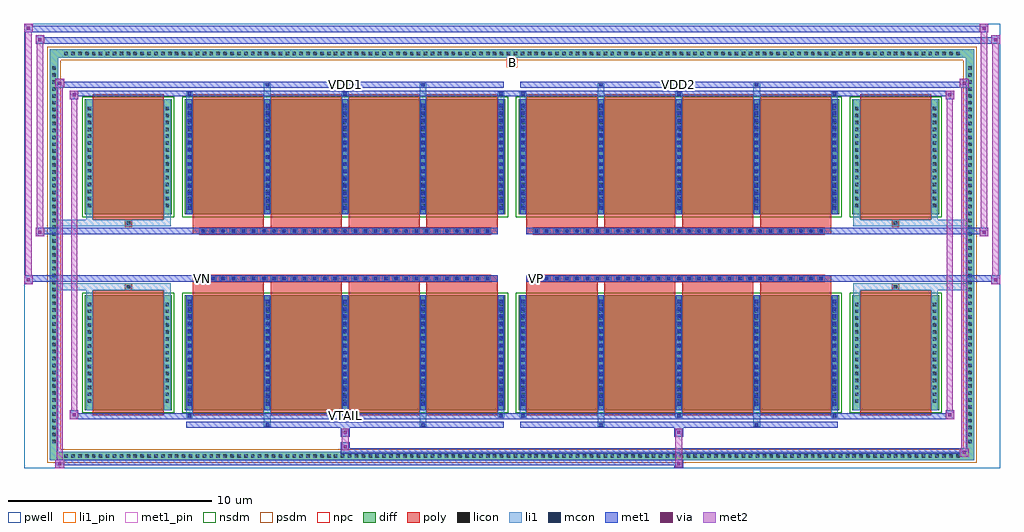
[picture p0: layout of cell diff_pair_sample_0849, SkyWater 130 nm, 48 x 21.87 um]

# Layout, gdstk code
import gdstk
lib = gdstk.Library(unit=1e-6, precision=5e-09)
def R(c, l, rs):  # rectangles x0, y0, x1, y1
    for r in rs: c.add(gdstk.rectangle(r[:2], r[2:], *l))
def A(c, l, x, y, w, h, nx, ny, dx, dy):  # array of equal rectangles
    R(c, l, [(x+i*dx, y+j*dy, x+i*dx+w, y+j*dy+h) for i in range(nx) for j in range(ny)])
def P(c, l, *ps):  # polygons
    for p in ps: c.add(gdstk.Polygon(p, *l))
pwell = (64, 44)
diff = (65, 20)
poly = (66, 20)
licon = (66, 44)
li1_pin = (67, 16)
li1 = (67, 20)
mcon = (67, 44)
met1_pin = (68, 16)
met1 = (68, 20)
via = (68, 44)
met2 = (69, 20)
nsdm = (93, 44)
psdm = (94, 20)
npc = (95, 20)

diff_pair_sample_0849 = lib.new_cell('diff_pair_sample_0849')
R(diff_pair_sample_0849, pwell, [(-24,-10.5,24,11.37), (-21.32,-8.69,-0.01,-0.805), (0.01,-8.69,21.32,-0.805), (-21.32,0.805,-0.01,8.69), (0.01,0.805,21.32,8.69)])
A(diff_pair_sample_0849, diff, -22.135, -10.1, 0.41, 0.41, 130, 2, 0.34, 19.79)
A(diff_pair_sample_0849, diff, -22.73, -9.385, 0.41, 0.41, 1, 55, 0, 0.34)
A(diff_pair_sample_0849, diff, 22.32, -9.385, 0.41, 0.41, 1, 55, 0, 0.34)
R(diff_pair_sample_0849, diff, [(-22.135,-10.1,22.135,-9.69), (-22.73,-9.385,-22.32,9.385), (22.32,-9.385,22.73,9.385), (-21.01,-7.645,-16.73,-1.985), (-16.09,-7.645,-0.32,-1.985), (0.32,-7.645,16.09,-1.985), (16.73,-7.645,21.01,-1.985), (-21.01,1.985,-16.73,7.645), (-16.09,1.985,-0.32,7.645), (0.32,1.985,16.09,7.645), (16.73,1.985,21.01,7.645), (-22.135,9.69,22.135,10.1)])
P(diff_pair_sample_0849, diff, [(22.73,10.1),(-22.73,10.1),(-22.73,-9.69),(-22.32,-9.69),(-22.32,9.69),(22.32,9.69),(22.32,-9.69),(-22.32,-9.69),(-22.73,-9.69),(-22.73,-10.1),(22.73,-10.1)])
A(diff_pair_sample_0849, poly, -15.7, -7.895, 3.5, 6.16, 4, 2, 3.83, 9.63)
A(diff_pair_sample_0849, poly, 0.71, -7.895, 3.5, 6.16, 4, 2, 3.83, 9.63)
A(diff_pair_sample_0849, poly, -15.7, -1.735, 3.5, 0.4, 4, 2, 3.83, 3.07)
A(diff_pair_sample_0849, poly, 0.71, -1.735, 3.5, 0.4, 4, 2, 3.83, 3.07)
A(diff_pair_sample_0849, poly, -15.37, -1.335, 0.33, 0.33, 29, 2, 0.5, 2.34)
A(diff_pair_sample_0849, poly, 1.04, -1.335, 0.33, 0.33, 29, 2, 0.5, 2.34)
R(diff_pair_sample_0849, poly, [(-20.62,-7.895,-17.12,-1.735), (17.12,-7.895,20.62,-1.735), (-19.035,-1.735,-18.705,-1.405), (-19.035,-1.735,-18.705,-1.405), (18.705,-1.735,19.035,-1.405), (18.705,-1.735,19.035,-1.405), (-15.7,-1.335,-0.71,-1.005), (0.71,-1.335,15.7,-1.005), (-15.7,1.005,-0.71,1.335), (0.71,1.005,15.7,1.335), (-19.035,1.405,-18.705,1.735), (-19.035,1.405,-18.705,1.735), (18.705,1.405,19.035,1.735), (18.705,1.405,19.035,1.735), (-20.62,1.735,-17.12,7.895), (17.12,1.735,20.62,7.895)])
A(diff_pair_sample_0849, licon, -22.015, -9.98, 0.17, 0.17, 130, 2, 0.34, 19.79)
A(diff_pair_sample_0849, licon, -22.61, -9.265, 0.17, 0.17, 1, 55, 0, 0.34)
A(diff_pair_sample_0849, licon, 22.44, -9.265, 0.17, 0.17, 1, 55, 0, 0.34)
A(diff_pair_sample_0849, licon, -20.87, -7.28, 0.17, 0.17, 1, 15, 0, 0.34)
A(diff_pair_sample_0849, licon, -17.04, -7.28, 0.17, 0.17, 1, 15, 0, 0.34)
A(diff_pair_sample_0849, licon, -15.95, -7.28, 0.17, 0.17, 5, 15, 3.83, 0.34)
A(diff_pair_sample_0849, licon, 0.46, -7.28, 0.17, 0.17, 5, 15, 3.83, 0.34)
A(diff_pair_sample_0849, licon, 16.87, -7.28, 0.17, 0.17, 1, 15, 0, 0.34)
A(diff_pair_sample_0849, licon, 20.7, -7.28, 0.17, 0.17, 1, 15, 0, 0.34)
A(diff_pair_sample_0849, licon, -15.29, -1.255, 0.17, 0.17, 29, 2, 0.5, 2.34)
A(diff_pair_sample_0849, licon, 1.12, -1.255, 0.17, 0.17, 29, 2, 0.5, 2.34)
A(diff_pair_sample_0849, licon, -20.87, 2.35, 0.17, 0.17, 1, 15, 0, 0.34)
A(diff_pair_sample_0849, licon, -17.04, 2.35, 0.17, 0.17, 1, 15, 0, 0.34)
A(diff_pair_sample_0849, licon, -15.95, 2.35, 0.17, 0.17, 5, 15, 3.83, 0.34)
A(diff_pair_sample_0849, licon, 0.46, 2.35, 0.17, 0.17, 5, 15, 3.83, 0.34)
A(diff_pair_sample_0849, licon, 16.87, 2.35, 0.17, 0.17, 1, 15, 0, 0.34)
A(diff_pair_sample_0849, licon, 20.7, 2.35, 0.17, 0.17, 1, 15, 0, 0.34)
R(diff_pair_sample_0849, licon, [(-18.955,-1.655,-18.785,-1.485), (18.785,-1.655,18.955,-1.485), (-18.955,1.485,-18.785,1.655), (18.785,1.485,18.955,1.655)])
R(diff_pair_sample_0849, li1_pin, [(-0.25,9.19,0.25,9.69)])
A(diff_pair_sample_0849, li1, -22.095, -10.06, 0.33, 0.33, 130, 2, 0.34, 19.79)
A(diff_pair_sample_0849, li1, -22.69, -9.345, 0.33, 0.33, 1, 55, 0, 0.34)
A(diff_pair_sample_0849, li1, 22.36, -9.345, 0.33, 0.33, 1, 55, 0, 0.34)
A(diff_pair_sample_0849, li1, -16.03, -8.02, 0.33, 0.375, 3, 2, 7.66, 15.665)
A(diff_pair_sample_0849, li1, -15.95, -8.02, 0.17, 0.17, 3, 2, 7.66, 15.87)
A(diff_pair_sample_0849, li1, 0.38, -8.02, 0.33, 0.375, 3, 2, 7.66, 15.665)
A(diff_pair_sample_0849, li1, 0.46, -8.02, 0.17, 0.17, 3, 2, 7.66, 15.87)
A(diff_pair_sample_0849, li1, -16.03, -7.645, 0.33, 5.66, 5, 2, 3.83, 9.63)
A(diff_pair_sample_0849, li1, 0.38, -7.645, 0.33, 5.66, 5, 2, 3.83, 9.63)
A(diff_pair_sample_0849, li1, -15.95, -7.42, 0.17, 0.17, 5, 15, 3.83, 0.36)
A(diff_pair_sample_0849, li1, -15.95, -7.42, 0.17, 5.21, 5, 2, 3.83, 9.63)
A(diff_pair_sample_0849, li1, 0.46, -7.42, 0.17, 0.17, 5, 15, 3.83, 0.36)
A(diff_pair_sample_0849, li1, 0.46, -7.42, 0.17, 5.21, 5, 2, 3.83, 9.63)
A(diff_pair_sample_0849, li1, -20.95, -7.36, 0.33, 0.33, 1, 15, 0, 0.34)
A(diff_pair_sample_0849, li1, -17.12, -7.36, 0.33, 0.33, 1, 15, 0, 0.34)
A(diff_pair_sample_0849, li1, -16.03, -7.36, 0.33, 0.33, 5, 15, 3.83, 0.34)
A(diff_pair_sample_0849, li1, 0.38, -7.36, 0.33, 0.33, 5, 15, 3.83, 0.34)
A(diff_pair_sample_0849, li1, 16.79, -7.36, 0.33, 0.33, 1, 15, 0, 0.34)
A(diff_pair_sample_0849, li1, 20.62, -7.36, 0.33, 0.33, 1, 15, 0, 0.34)
A(diff_pair_sample_0849, li1, -15.37, -1.335, 0.33, 0.33, 29, 2, 0.5, 2.34)
A(diff_pair_sample_0849, li1, 1.04, -1.335, 0.33, 0.33, 29, 2, 0.5, 2.34)
A(diff_pair_sample_0849, li1, -15.95, 2.21, 0.17, 0.17, 5, 15, 3.83, 0.36)
A(diff_pair_sample_0849, li1, 0.46, 2.21, 0.17, 0.17, 5, 15, 3.83, 0.36)
A(diff_pair_sample_0849, li1, -20.95, 2.27, 0.33, 0.33, 1, 15, 0, 0.34)
A(diff_pair_sample_0849, li1, -17.12, 2.27, 0.33, 0.33, 1, 15, 0, 0.34)
A(diff_pair_sample_0849, li1, -16.03, 2.27, 0.33, 0.33, 5, 15, 3.83, 0.34)
A(diff_pair_sample_0849, li1, 0.38, 2.27, 0.33, 0.33, 5, 15, 3.83, 0.34)
A(diff_pair_sample_0849, li1, 16.79, 2.27, 0.33, 0.33, 1, 15, 0, 0.34)
A(diff_pair_sample_0849, li1, 20.62, 2.27, 0.33, 0.33, 1, 15, 0, 0.34)
R(diff_pair_sample_0849, li1, [(-22.73,-10.1,-22.32,-9.69), (-22.73,-10.1,-22.32,-9.69), (-22.32,-10.1,22.32,-9.69), (22.32,-10.1,22.73,-9.69), (22.32,-10.1,22.73,-9.69), (-22.73,-9.69,-22.32,9.69), (22.32,-9.69,22.73,9.69), (-12.2,-8.45,-11.87,-7.645), (-12.12,-8.45,-11.95,-8.28), (-4.54,-8.45,-4.21,-7.645), (-4.46,-8.45,-4.29,-8.28), (4.21,-8.45,4.54,-7.645), (4.29,-8.45,4.46,-8.28), (11.87,-8.45,12.2,-7.645), (11.95,-8.45,12.12,-8.28), (-20.95,-7.645,-20.62,-1.985), (-17.12,-7.645,-16.79,-1.985), (16.79,-7.645,17.12,-1.985), (20.62,-7.645,20.95,-1.985), (-20.95,-1.985,-20.62,-1.405), (-17.12,-1.985,-16.79,-1.405), (16.79,-1.985,17.12,-1.405), (20.62,-1.985,20.95,-1.405), (-22.73,-1.735,-19.035,-1.405), (-20.95,-1.735,-19.035,-1.405), (-19.035,-1.735,-18.705,-1.405), (-18.705,-1.735,-16.79,-1.405), (16.79,-1.735,18.705,-1.405), (18.705,-1.735,19.035,-1.405), (18.705,-1.735,22.73,-1.405), (19.035,-1.735,20.95,-1.405), (-22.73,1.405,-19.035,1.735), (-20.95,1.405,-19.035,1.735), (-20.95,1.405,-20.62,1.985), (-19.035,1.405,-18.705,1.735), (-18.705,1.405,-16.79,1.735), (-17.12,1.405,-16.79,1.985), (16.79,1.405,18.705,1.735), (16.79,1.405,17.12,1.985), (18.705,1.405,19.035,1.735), (18.705,1.405,22.73,1.735), (19.035,1.405,20.95,1.735), (20.62,1.405,20.95,1.985), (-20.95,1.985,-20.62,7.645), (-17.12,1.985,-16.79,7.645), (16.79,1.985,17.12,7.645), (20.62,1.985,20.95,7.645), (-12.2,7.645,-11.87,8.45), (-4.54,7.645,-4.21,8.45), (4.21,7.645,4.54,8.45), (11.87,7.645,12.2,8.45), (-12.12,8.28,-11.95,8.45), (-4.46,8.28,-4.29,8.45), (4.29,8.28,4.46,8.45), (11.95,8.28,12.12,8.45), (-22.73,9.69,-22.32,10.1), (-22.73,9.69,-22.32,10.1), (-22.32,9.69,22.32,10.1), (22.32,9.69,22.73,10.1), (22.32,9.69,22.73,10.1)])
A(diff_pair_sample_0849, mcon, -15.95, -8.02, 0.17, 0.17, 3, 2, 7.66, 15.87)
A(diff_pair_sample_0849, mcon, 0.46, -8.02, 0.17, 0.17, 3, 2, 7.66, 15.87)
A(diff_pair_sample_0849, mcon, -15.95, -7.42, 0.17, 0.17, 5, 15, 3.83, 0.36)
A(diff_pair_sample_0849, mcon, 0.46, -7.42, 0.17, 0.17, 5, 15, 3.83, 0.36)
A(diff_pair_sample_0849, mcon, -15.29, -1.255, 0.17, 0.17, 29, 2, 0.5, 2.34)
A(diff_pair_sample_0849, mcon, 1.12, -1.255, 0.17, 0.17, 29, 2, 0.5, 2.34)
A(diff_pair_sample_0849, mcon, -15.95, 2.21, 0.17, 0.17, 5, 15, 3.83, 0.36)
A(diff_pair_sample_0849, mcon, 0.46, 2.21, 0.17, 0.17, 5, 15, 3.83, 0.36)
R(diff_pair_sample_0849, mcon, [(-12.12,-8.45,-11.95,-8.28), (-4.46,-8.45,-4.29,-8.28), (4.29,-8.45,4.46,-8.28), (11.95,-8.45,12.12,-8.28), (-12.12,8.28,-11.95,8.45), (-4.46,8.28,-4.29,8.45), (4.29,8.28,4.46,8.45), (11.95,8.28,12.12,8.45)])
R(diff_pair_sample_0849, met1_pin, [(-8.34,-8.06,-8.07,-7.79), (-15.34,-1.295,-15.07,-1.025), (1.07,-1.295,1.34,-1.025), (-8.34,8.24,-8.07,8.51), (8.07,8.24,8.34,8.51)])
A(diff_pair_sample_0849, met1, -16.01, -8.08, 0.29, 0.29, 3, 2, 7.66, 15.87)
A(diff_pair_sample_0849, met1, 0.4, -8.08, 0.29, 0.29, 3, 2, 7.66, 15.87)
A(diff_pair_sample_0849, met1, -16.01, -7.645, 0.29, 5.66, 5, 2, 3.83, 9.63)
A(diff_pair_sample_0849, met1, 0.4, -7.645, 0.29, 5.66, 5, 2, 3.83, 9.63)
A(diff_pair_sample_0849, met1, -16.01, -7.48, 0.29, 0.29, 5, 15, 3.83, 0.36)
A(diff_pair_sample_0849, met1, 0.4, -7.48, 0.29, 0.29, 5, 15, 3.83, 0.36)
A(diff_pair_sample_0849, met1, -15.35, -1.315, 0.29, 0.29, 29, 2, 0.5, 2.34)
A(diff_pair_sample_0849, met1, 1.06, -1.315, 0.29, 0.29, 29, 2, 0.5, 2.34)
A(diff_pair_sample_0849, met1, -16.01, 2.15, 0.29, 0.29, 5, 15, 3.83, 0.36)
A(diff_pair_sample_0849, met1, 0.4, 2.15, 0.29, 0.29, 5, 15, 3.83, 0.36)
R(diff_pair_sample_0849, met1, [(-22.46,-10.5,-22.03,-10.07), (7.99,-10.5,8.42,-10.07), (-22.46,-10.36,8.42,-10.07), (22.03,-9.93,22.46,-9.5), (-8.42,-9.79,22.46,-9.5), (-8.42,-9.65,-7.99,-9.22), (-8.42,-8.94,-7.99,-8.51), (7.99,-8.94,8.42,-8.51), (-16.01,-8.51,-0.4,-8.22), (-12.18,-8.51,-11.89,-8.22), (-4.52,-8.51,-4.23,-8.22), (0.4,-8.51,16.01,-8.22), (4.23,-8.51,4.52,-8.22), (11.89,-8.51,12.18,-8.22), (-21.75,-8.08,-21.32,-7.65), (-21.75,-8.08,-16.01,-7.79), (-16.01,-8.08,-0.4,-7.79), (-0.4,-8.08,0.4,-7.79), (0.4,-8.08,16.01,-7.79), (16.01,-8.08,21.75,-7.79), (21.32,-8.08,21.75,-7.65), (-24,-1.435,-23.57,-1.005), (23.57,-1.435,24,-1.005), (-24,-1.335,-0.71,-1.005), (-15.7,-1.335,-0.71,-1.005), (0.71,-1.335,15.7,-1.005), (0.71,-1.335,24,-1.005), (-23.43,0.905,-23,1.335), (23,0.905,23.43,1.335), (-23.43,1.005,-15.7,1.335), (-15.7,1.005,-0.71,1.335), (0.71,1.005,15.7,1.335), (15.7,1.005,23.43,1.335), (-21.75,7.65,-21.32,8.08), (21.32,7.65,21.75,8.08), (-21.75,7.79,-16.01,8.08), (-16.01,7.79,-0.4,8.08), (-0.4,7.79,0.4,8.08), (0.4,7.79,16.01,8.08), (16.01,7.79,21.75,8.08), (-22.46,8.22,-22.03,8.65), (-22.46,8.22,-16.01,8.51), (-16.01,8.22,-0.4,8.51), (-12.18,8.22,-11.89,8.51), (-4.52,8.22,-4.23,8.51), (0.4,8.22,16.01,8.51), (4.23,8.22,4.52,8.51), (11.89,8.22,12.18,8.51), (16.01,8.22,22.46,8.51), (22.03,8.22,22.46,8.65), (-23.43,10.37,-23,10.8), (-23.43,10.37,-21.32,10.7), (-21.32,10.37,21.32,10.7), (21.32,10.37,24,10.7), (23.57,10.37,24,10.8), (-24,10.94,-23.57,11.37), (-24,10.94,-21.32,11.27), (-21.32,10.94,21.32,11.27), (21.32,10.94,23.43,11.27), (23,10.94,23.43,11.37)])
R(diff_pair_sample_0849, via, [(-22.32,-10.36,-22.17,-10.21), (8.13,-10.36,8.28,-10.21), (22.17,-9.79,22.32,-9.64), (-8.28,-9.51,-8.13,-9.36), (-8.28,-8.8,-8.13,-8.65), (8.13,-8.8,8.28,-8.65), (-21.61,-7.94,-21.46,-7.79), (21.46,-7.94,21.61,-7.79), (-23.86,-1.295,-23.71,-1.145), (23.71,-1.295,23.86,-1.145), (-23.29,1.045,-23.14,1.195), (23.14,1.045,23.29,1.195), (-21.61,7.79,-21.46,7.94), (21.46,7.79,21.61,7.94), (-22.32,8.36,-22.17,8.51), (22.17,8.36,22.32,8.51), (-23.29,10.51,-23.14,10.66), (23.71,10.51,23.86,10.66), (-23.86,11.08,-23.71,11.23), (23.14,11.08,23.29,11.23)])
R(diff_pair_sample_0849, met2, [(-22.46,-10.5,-22.03,-10.07), (-22.39,-10.5,-22.1,8.65), (-22.1,-10.5,-22.03,-10.07), (-22.41,-10.45,-22.08,-10.12), (8.04,-10.45,8.37,-10.12), (8.04,-10.12,8.37,-8.89), (22.03,-9.93,22.46,-9.5), (22.1,-9.93,22.39,8.65), (22.39,-9.93,22.46,-9.5), (22.08,-9.88,22.41,-9.55), (-8.37,-9.6,-8.04,-9.27), (-8.37,-9.27,-8.04,-8.89), (-8.37,-8.89,-8.04,-8.56), (8.04,-8.89,8.37,-8.56), (-21.75,-8.08,-21.32,-7.65), (-21.68,-8.08,-21.39,8.08), (-21.39,-8.08,-21.32,-7.65), (21.32,-8.08,21.75,-7.65), (21.39,-8.08,21.68,8.08), (21.68,-8.08,21.75,-7.65), (-21.7,-8.03,-21.37,-7.7), (21.37,-8.03,21.7,-7.7), (-24,-1.435,-23.57,-1.005), (-23.95,-1.435,-23.62,11.37), (-23.62,-1.435,-23.57,-1.005), (23.57,-1.435,24,-1.005), (23.62,-1.435,23.95,10.8), (23.95,-1.435,24,-1.005), (-23.95,-1.385,-23.62,-1.055), (23.62,-1.385,23.95,-1.055), (-23.43,0.905,-23,1.335), (-23.38,0.905,-23.05,10.8), (-23.05,0.905,-23,1.335), (23,0.905,23.43,1.335), (23.05,0.905,23.38,11.37), (23.38,0.905,23.43,1.335), (-23.38,0.955,-23.05,1.285), (23.05,0.955,23.38,1.285), (-21.75,7.65,-21.32,8.08), (-21.39,7.65,-21.32,8.08), (21.32,7.65,21.75,8.08), (21.68,7.65,21.75,8.08), (-21.7,7.7,-21.37,8.03), (21.37,7.7,21.7,8.03), (-22.46,8.22,-22.03,8.65), (-22.1,8.22,-22.03,8.65), (22.03,8.22,22.46,8.65), (22.39,8.22,22.46,8.65), (-22.41,8.27,-22.08,8.6), (22.08,8.27,22.41,8.6), (-23.43,10.37,-23,10.8), (-23.05,10.37,-23,10.8), (23.57,10.37,24,10.8), (23.95,10.37,24,10.8), (-23.38,10.42,-23.05,10.75), (23.62,10.42,23.95,10.75), (-24,10.94,-23.57,11.37), (-23.62,10.94,-23.57,11.37), (23,10.94,23.43,11.37), (23.38,10.94,23.43,11.37), (-23.95,10.99,-23.62,11.32), (23.05,10.99,23.38,11.32)])
R(diff_pair_sample_0849, nsdm, [(-21.14,-7.775,-16.6,-1.855), (-16.22,-7.775,-0.19,-1.855), (0.19,-7.775,16.22,-1.855), (16.6,-7.775,21.14,-1.855), (-21.14,1.855,-16.6,7.775), (-16.22,1.855,-0.19,7.775), (0.19,1.855,16.22,7.775), (16.6,1.855,21.14,7.775)])
P(diff_pair_sample_0849, psdm, [(22.86,10.23),(-22.86,10.23),(-22.86,-9.56),(-22.19,-9.56),(-22.19,9.56),(22.19,9.56),(22.19,-9.56),(-22.19,-9.56),(-22.86,-9.56),(-22.86,-10.23),(22.86,-10.23)])
A(diff_pair_sample_0849, npc, -15.39, -1.355, 0.37, 0.37, 29, 2, 0.5, 2.34)
A(diff_pair_sample_0849, npc, 1.02, -1.355, 0.37, 0.37, 29, 2, 0.5, 2.34)
R(diff_pair_sample_0849, npc, [(-19.055,-1.755,-18.685,-1.385), (18.685,-1.755,19.055,-1.385), (-15.39,-1.355,-14.52,-0.985), (-15.39,-1.355,-14.52,-0.985), (-14.89,-1.355,-14.02,-0.985), (-14.89,-1.355,-14.02,-0.985), (-14.39,-1.355,-13.52,-0.985), (-14.39,-1.355,-13.52,-0.985), (-13.89,-1.355,-13.02,-0.985), (-13.89,-1.355,-13.02,-0.985), (-13.39,-1.355,-12.52,-0.985), (-13.39,-1.355,-12.52,-0.985), (-12.89,-1.355,-12.02,-0.985), (-12.89,-1.355,-12.02,-0.985), (-12.39,-1.355,-11.52,-0.985), (-12.39,-1.355,-11.52,-0.985), (-11.89,-1.355,-11.02,-0.985), (-11.89,-1.355,-11.02,-0.985), (-11.39,-1.355,-10.52,-0.985), (-11.39,-1.355,-10.52,-0.985), (-10.89,-1.355,-10.02,-0.985), (-10.89,-1.355,-10.02,-0.985), (-10.39,-1.355,-9.52,-0.985), (-10.39,-1.355,-9.52,-0.985), (-9.89,-1.355,-9.02,-0.985), (-9.89,-1.355,-9.02,-0.985), (-9.39,-1.355,-8.52,-0.985), (-9.39,-1.355,-8.52,-0.985), (-8.89,-1.355,-8.02,-0.985), (-8.89,-1.355,-8.02,-0.985), (-8.39,-1.355,-7.52,-0.985), (-8.39,-1.355,-7.52,-0.985), (-7.89,-1.355,-7.02,-0.985), (-7.89,-1.355,-7.02,-0.985), (-7.39,-1.355,-6.52,-0.985), (-7.39,-1.355,-6.52,-0.985), (-6.89,-1.355,-6.02,-0.985), (-6.89,-1.355,-6.02,-0.985), (-6.39,-1.355,-5.52,-0.985), (-6.39,-1.355,-5.52,-0.985), (-5.89,-1.355,-5.02,-0.985), (-5.89,-1.355,-5.02,-0.985), (-5.39,-1.355,-4.52,-0.985), (-5.39,-1.355,-4.52,-0.985), (-4.89,-1.355,-4.02,-0.985), (-4.89,-1.355,-4.02,-0.985), (-4.39,-1.355,-3.52,-0.985), (-4.39,-1.355,-3.52,-0.985), (-3.89,-1.355,-3.02,-0.985), (-3.89,-1.355,-3.02,-0.985), (-3.39,-1.355,-2.52,-0.985), (-3.39,-1.355,-2.52,-0.985), (-2.89,-1.355,-2.02,-0.985), (-2.89,-1.355,-2.02,-0.985), (-2.39,-1.355,-1.52,-0.985), (-2.39,-1.355,-1.52,-0.985), (-1.89,-1.355,-1.02,-0.985), (-1.89,-1.355,-1.02,-0.985), (1.02,-1.355,1.89,-0.985), (1.02,-1.355,1.89,-0.985), (1.52,-1.355,2.39,-0.985), (1.52,-1.355,2.39,-0.985), (2.02,-1.355,2.89,-0.985), (2.02,-1.355,2.89,-0.985), (2.52,-1.355,3.39,-0.985), (2.52,-1.355,3.39,-0.985), (3.02,-1.355,3.89,-0.985), (3.02,-1.355,3.89,-0.985), (3.52,-1.355,4.39,-0.985), (3.52,-1.355,4.39,-0.985), (4.02,-1.355,4.89,-0.985), (4.02,-1.355,4.89,-0.985), (4.52,-1.355,5.39,-0.985), (4.52,-1.355,5.39,-0.985), (5.02,-1.355,5.89,-0.985), (5.02,-1.355,5.89,-0.985), (5.52,-1.355,6.39,-0.985), (5.52,-1.355,6.39,-0.985), (6.02,-1.355,6.89,-0.985), (6.02,-1.355,6.89,-0.985), (6.52,-1.355,7.39,-0.985), (6.52,-1.355,7.39,-0.985), (7.02,-1.355,7.89,-0.985), (7.02,-1.355,7.89,-0.985), (7.52,-1.355,8.39,-0.985), (7.52,-1.355,8.39,-0.985), (8.02,-1.355,8.89,-0.985), (8.02,-1.355,8.89,-0.985), (8.52,-1.355,9.39,-0.985), (8.52,-1.355,9.39,-0.985), (9.02,-1.355,9.89,-0.985), (9.02,-1.355,9.89,-0.985), (9.52,-1.355,10.39,-0.985), (9.52,-1.355,10.39,-0.985), (10.02,-1.355,10.89,-0.985), (10.02,-1.355,10.89,-0.985), (10.52,-1.355,11.39,-0.985), (10.52,-1.355,11.39,-0.985), (11.02,-1.355,11.89,-0.985), (11.02,-1.355,11.89,-0.985), (11.52,-1.355,12.39,-0.985), (11.52,-1.355,12.39,-0.985), (12.02,-1.355,12.89,-0.985), (12.02,-1.355,12.89,-0.985), (12.52,-1.355,13.39,-0.985), (12.52,-1.355,13.39,-0.985), (13.02,-1.355,13.89,-0.985), (13.02,-1.355,13.89,-0.985), (13.52,-1.355,14.39,-0.985), (13.52,-1.355,14.39,-0.985), (14.02,-1.355,14.89,-0.985), (14.02,-1.355,14.89,-0.985), (14.52,-1.355,15.39,-0.985), (14.52,-1.355,15.39,-0.985), (-15.39,0.985,-14.52,1.355), (-15.39,0.985,-14.52,1.355), (-14.89,0.985,-14.02,1.355), (-14.89,0.985,-14.02,1.355), (-14.39,0.985,-13.52,1.355), (-14.39,0.985,-13.52,1.355), (-13.89,0.985,-13.02,1.355), (-13.89,0.985,-13.02,1.355), (-13.39,0.985,-12.52,1.355), (-13.39,0.985,-12.52,1.355), (-12.89,0.985,-12.02,1.355), (-12.89,0.985,-12.02,1.355), (-12.39,0.985,-11.52,1.355), (-12.39,0.985,-11.52,1.355), (-11.89,0.985,-11.02,1.355), (-11.89,0.985,-11.02,1.355), (-11.39,0.985,-10.52,1.355), (-11.39,0.985,-10.52,1.355), (-10.89,0.985,-10.02,1.355), (-10.89,0.985,-10.02,1.355), (-10.39,0.985,-9.52,1.355), (-10.39,0.985,-9.52,1.355), (-9.89,0.985,-9.02,1.355), (-9.89,0.985,-9.02,1.355), (-9.39,0.985,-8.52,1.355), (-9.39,0.985,-8.52,1.355), (-8.89,0.985,-8.02,1.355), (-8.89,0.985,-8.02,1.355), (-8.39,0.985,-7.52,1.355), (-8.39,0.985,-7.52,1.355), (-7.89,0.985,-7.02,1.355), (-7.89,0.985,-7.02,1.355), (-7.39,0.985,-6.52,1.355), (-7.39,0.985,-6.52,1.355), (-6.89,0.985,-6.02,1.355), (-6.89,0.985,-6.02,1.355), (-6.39,0.985,-5.52,1.355), (-6.39,0.985,-5.52,1.355), (-5.89,0.985,-5.02,1.355), (-5.89,0.985,-5.02,1.355), (-5.39,0.985,-4.52,1.355), (-5.39,0.985,-4.52,1.355), (-4.89,0.985,-4.02,1.355), (-4.89,0.985,-4.02,1.355), (-4.39,0.985,-3.52,1.355), (-4.39,0.985,-3.52,1.355), (-3.89,0.985,-3.02,1.355), (-3.89,0.985,-3.02,1.355), (-3.39,0.985,-2.52,1.355), (-3.39,0.985,-2.52,1.355), (-2.89,0.985,-2.02,1.355), (-2.89,0.985,-2.02,1.355), (-2.39,0.985,-1.52,1.355), (-2.39,0.985,-1.52,1.355), (-1.89,0.985,-1.02,1.355), (-1.89,0.985,-1.02,1.355), (1.02,0.985,1.89,1.355), (1.02,0.985,1.89,1.355), (1.52,0.985,2.39,1.355), (1.52,0.985,2.39,1.355), (2.02,0.985,2.89,1.355), (2.02,0.985,2.89,1.355), (2.52,0.985,3.39,1.355), (2.52,0.985,3.39,1.355), (3.02,0.985,3.89,1.355), (3.02,0.985,3.89,1.355), (3.52,0.985,4.39,1.355), (3.52,0.985,4.39,1.355), (4.02,0.985,4.89,1.355), (4.02,0.985,4.89,1.355), (4.52,0.985,5.39,1.355), (4.52,0.985,5.39,1.355), (5.02,0.985,5.89,1.355), (5.02,0.985,5.89,1.355), (5.52,0.985,6.39,1.355), (5.52,0.985,6.39,1.355), (6.02,0.985,6.89,1.355), (6.02,0.985,6.89,1.355), (6.52,0.985,7.39,1.355), (6.52,0.985,7.39,1.355), (7.02,0.985,7.89,1.355), (7.02,0.985,7.89,1.355), (7.52,0.985,8.39,1.355), (7.52,0.985,8.39,1.355), (8.02,0.985,8.89,1.355), (8.02,0.985,8.89,1.355), (8.52,0.985,9.39,1.355), (8.52,0.985,9.39,1.355), (9.02,0.985,9.89,1.355), (9.02,0.985,9.89,1.355), (9.52,0.985,10.39,1.355), (9.52,0.985,10.39,1.355), (10.02,0.985,10.89,1.355), (10.02,0.985,10.89,1.355), (10.52,0.985,11.39,1.355), (10.52,0.985,11.39,1.355), (11.02,0.985,11.89,1.355), (11.02,0.985,11.89,1.355), (11.52,0.985,12.39,1.355), (11.52,0.985,12.39,1.355), (12.02,0.985,12.89,1.355), (12.02,0.985,12.89,1.355), (12.52,0.985,13.39,1.355), (12.52,0.985,13.39,1.355), (13.02,0.985,13.89,1.355), (13.02,0.985,13.89,1.355), (13.52,0.985,14.39,1.355), (13.52,0.985,14.39,1.355), (14.02,0.985,14.89,1.355), (14.02,0.985,14.89,1.355), (14.52,0.985,15.39,1.355), (14.52,0.985,15.39,1.355), (-19.055,1.385,-18.685,1.755), (18.685,1.385,19.055,1.755)])
diff_pair_sample_0849.add(gdstk.Label('VTAIL', (-8.205,-7.925), layer=68, texttype=5))
diff_pair_sample_0849.add(gdstk.Label('VN', (-15.205,-1.16), layer=68, texttype=5))
diff_pair_sample_0849.add(gdstk.Label('VP', (1.205,-1.16), layer=68, texttype=5))
diff_pair_sample_0849.add(gdstk.Label('B', (0,9.44), layer=67, texttype=5))
diff_pair_sample_0849.add(gdstk.Label('VDD2', (8.205,8.375), layer=68, texttype=5))
diff_pair_sample_0849.add(gdstk.Label('VDD1', (-8.205,8.375), layer=68, texttype=5))

lib.write_gds('diff_pair_sample_0849.gds')
